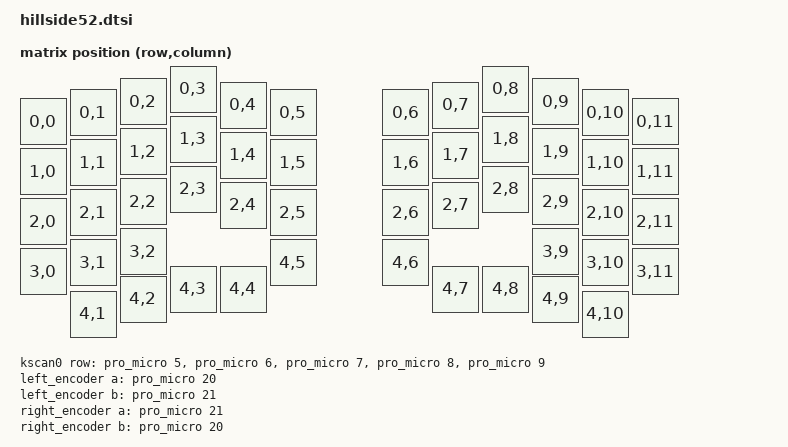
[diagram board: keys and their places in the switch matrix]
/*
 * Copyright (c) 2021-2022 The ZMK Contributors
 *
 * SPDX-License-Identifier: MIT
 */

#include <dt-bindings/zmk/matrix_transform.h>
#include <physical_layouts.dtsi>

/ {
    chosen {
        zmk,kscan = &kscan0;
        zmk,physical-layout = &default_layout;
    };

    default_layout: default_layout {
        compatible = "zmk,physical-layout";
        display-name = "Default";
        transform = <&default_transform>;
        keys  //                     w    h     x     y    rot   rx   ry
            = <&key_physical_attrs 100  100     0    65      0    0    0>  // 0  RC(0,0)
            , <&key_physical_attrs 100  100   100    47      0    0    0>  // 1  RC(0,1)
            , <&key_physical_attrs 100  100   200    25      0    0    0>  // 2  RC(0,2)
            , <&key_physical_attrs 100  100   300     0      0    0    0>  // 3  RC(0,3)
            , <&key_physical_attrs 100  100   400    32      0    0    0>  // 4  RC(0,4)
            , <&key_physical_attrs 100  100   500    47      0    0    0>  // 5  RC(0,5)
            , <&key_physical_attrs 100  100   725    47      0    0    0>  // 6  RC(0,6)
            , <&key_physical_attrs 100  100   825    32      0    0    0>  // 7  RC(0,7)
            , <&key_physical_attrs 100  100   925     0      0    0    0>  // 8  RC(0,8)
            , <&key_physical_attrs 100  100  1025    25      0    0    0>  // 9  RC(0,9)
            , <&key_physical_attrs 100  100  1125    47      0    0    0>  // 10 RC(0,10)
            , <&key_physical_attrs 100  100  1225    65      0    0    0>  // 11 RC(0,11)
            , <&key_physical_attrs 100  100     0   165      0    0    0>  // 12 RC(1,0)
            , <&key_physical_attrs 100  100   100   147      0    0    0>  // 13 RC(1,1)
            , <&key_physical_attrs 100  100   200   125      0    0    0>  // 14 RC(1,2)
            , <&key_physical_attrs 100  100   300   100      0    0    0>  // 15 RC(1,3)
            , <&key_physical_attrs 100  100   400   132      0    0    0>  // 16 RC(1,4)
            , <&key_physical_attrs 100  100   500   147      0    0    0>  // 17 RC(1,5)
            , <&key_physical_attrs 100  100   725   147      0    0    0>  // 18 RC(1,6)
            , <&key_physical_attrs 100  100   825   132      0    0    0>  // 19 RC(1,7)
            , <&key_physical_attrs 100  100   925   100      0    0    0>  // 20 RC(1,8)
            , <&key_physical_attrs 100  100  1025   125      0    0    0>  // 21 RC(1,9)
            , <&key_physical_attrs 100  100  1125   147      0    0    0>  // 22 RC(1,10)
            , <&key_physical_attrs 100  100  1225   165      0    0    0>  // 23 RC(1,11)
            , <&key_physical_attrs 100  100     0   265      0    0    0>  // 24 RC(2,0)
            , <&key_physical_attrs 100  100   100   247      0    0    0>  // 25 RC(2,1)
            , <&key_physical_attrs 100  100   200   225      0    0    0>  // 26 RC(2,2)
            , <&key_physical_attrs 100  100   300   200      0    0    0>  // 27 RC(2,3)
            , <&key_physical_attrs 100  100   400   232      0    0    0>  // 28 RC(2,4)
            , <&key_physical_attrs 100  100   500   247      0    0    0>  // 29 RC(2,5)
            , <&key_physical_attrs 100  100   500   347      0    0    0>  // 30 RC(4,5)
            , <&key_physical_attrs 100  100   725   347      0    0    0>  // 31 RC(4,6)
            , <&key_physical_attrs 100  100   725   247      0    0    0>  // 32 RC(2,6)
            , <&key_physical_attrs 100  100   825   232      0    0    0>  // 33 RC(2,7)
            , <&key_physical_attrs 100  100   925   200      0    0    0>  // 34 RC(2,8)
            , <&key_physical_attrs 100  100  1025   225      0    0    0>  // 35 RC(2,9)
            , <&key_physical_attrs 100  100  1125   247      0    0    0>  // 36 RC(2,10)
            , <&key_physical_attrs 100  100  1225   265      0    0    0>  // 37 RC(2,11)
            , <&key_physical_attrs 100  100     0   365      0    0    0>  // 38 RC(3,0)
            , <&key_physical_attrs 100  100   100   347      0    0    0>  // 39 RC(3,1)
            , <&key_physical_attrs 100  100   200   325      0    0    0>  // 40 RC(3,2)
            , <&key_physical_attrs 100  100   100   450      0    0    0>  // 41 RC(4,1)
            , <&key_physical_attrs 100  100   200   420      0    0    0>  // 42 RC(4,2)
            , <&key_physical_attrs 100  100   300   400      0    0    0>  // 43 RC(4,3)
            , <&key_physical_attrs 100  100   400   400      0    0    0>  // 44 RC(4,4)
            , <&key_physical_attrs 100  100   825   400      0    0    0>  // 45 RC(4,7)
            , <&key_physical_attrs 100  100   925   400      0    0    0>  // 46 RC(4,8)
            , <&key_physical_attrs 100  100  1025   420      0    0    0>  // 47 RC(4,9)
            , <&key_physical_attrs 100  100  1125   450      0    0    0>  // 48 RC(4,10)
            , <&key_physical_attrs 100  100  1025   325      0    0    0>  // 49 RC(3,9)
            , <&key_physical_attrs 100  100  1125   347      0    0    0>  // 50 RC(3,10)
            , <&key_physical_attrs 100  100  1225   365      0    0    0>  // 51 RC(3,11)
            ;
    };

    default_transform: keymap_transform_0 {
        compatible = "zmk,matrix-transform";
        columns = <12>;
        rows = <5>;
// | SW1  | SW2  | SW3  | SW4  | SW5  | SW6  |                                   | SW6  | SW5  | SW4  | SW3  | SW2  | SW1  |
// | SW7  | SW8  | SW9  | SW10 | SW11 | SW12 |                                   | SW12 | SW11 | SW10 | SW9  | SW8  | SW7  |
// | SW13 | SW14 | SW15 | SW16 | SW17 | SW18 / SW19 /                     \ SW19 \ SW18 | SW17 | SW16 | SW15 | SW14 | SW13 |
// | SW20 | SW21 | SW22    | SW23 / SW24 / SW25 / SW26 /               \ SW26 \ SW25 \ SW24 \ SW23 |    SW22 | SW21 | SW20 |
        map = <
RC(0,0) RC(0,1) RC(0,2) RC(0,3) RC(0,4) RC(0,5)                                   RC(0,6) RC(0,7) RC(0,8) RC(0,9) RC(0,10) RC(0,11)
RC(1,0) RC(1,1) RC(1,2) RC(1,3) RC(1,4) RC(1,5)                                   RC(1,6) RC(1,7) RC(1,8) RC(1,9) RC(1,10) RC(1,11)
RC(2,0) RC(2,1) RC(2,2) RC(2,3) RC(2,4) RC(2,5) RC(4,5)                   RC(4,6) RC(2,6) RC(2,7) RC(2,8) RC(2,9) RC(2,10) RC(2,11)
RC(3,0) RC(3,1) RC(3,2)         RC(4,1) RC(4,2) RC(4,3) RC(4,4)   RC(4,7) RC(4,8) RC(4,9) RC(4,10)        RC(3,9) RC(3,10) RC(3,11)
        >;
    };

    kscan0: kscan {
        compatible = "zmk,kscan-gpio-matrix";
        label = "KSCAN";

        diode-direction = "col2row";
        row-gpios
            = <&pro_micro 5 (GPIO_ACTIVE_HIGH | GPIO_PULL_DOWN)>
            , <&pro_micro 6 (GPIO_ACTIVE_HIGH | GPIO_PULL_DOWN)>
            , <&pro_micro 7 (GPIO_ACTIVE_HIGH | GPIO_PULL_DOWN)>
            , <&pro_micro 8 (GPIO_ACTIVE_HIGH | GPIO_PULL_DOWN)>
            , <&pro_micro 9 (GPIO_ACTIVE_HIGH | GPIO_PULL_DOWN)>
            ;
        
    };

    left_encoder: encoder_left {
            compatible = "alps,ec11";
            label = "LEFT_ENCODER";
            a-gpios = <&pro_micro 20 (GPIO_ACTIVE_HIGH | GPIO_PULL_UP)>;
            b-gpios = <&pro_micro 21 (GPIO_ACTIVE_HIGH | GPIO_PULL_UP)>;
            resolution = <4>;
            status = "disabled";
        };

    right_encoder: encoder_right {
            compatible = "alps,ec11";
            label = "RIGHT_ENCODER";
            a-gpios = <&pro_micro 21 (GPIO_ACTIVE_HIGH | GPIO_PULL_UP)>;
            b-gpios = <&pro_micro 20 (GPIO_ACTIVE_HIGH | GPIO_PULL_UP)>;
            resolution = <4>;
            status = "disabled";
        };

    sensors {
            compatible = "zmk,keymap-sensors";
            sensors = <&left_encoder &right_encoder>;
        };
    
};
